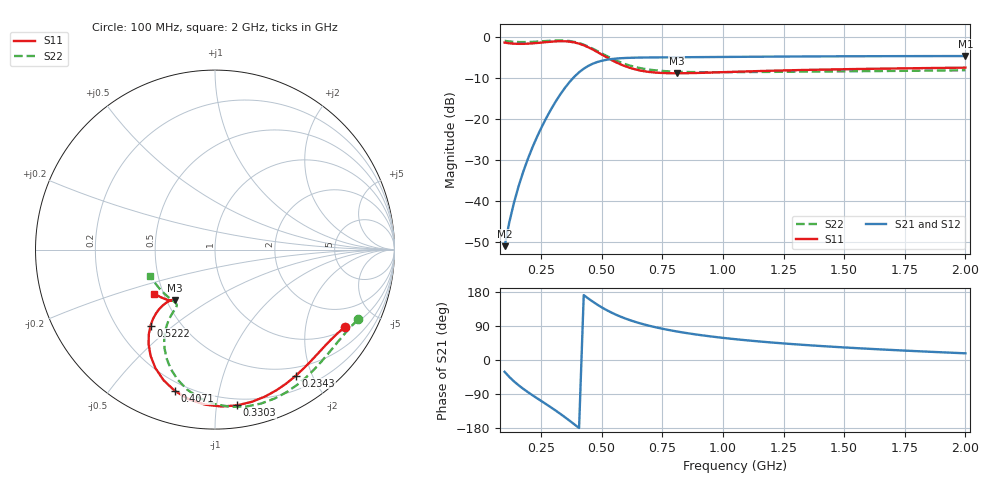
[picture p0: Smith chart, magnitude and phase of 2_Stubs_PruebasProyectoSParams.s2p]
! Created Sat Nov 25 14:33:54 2023
# hz S ri R 50
! 2 Port Network Data from SP1.SP block
! freq  reS11  imS11  reS21  imS21  reS12  imS12  reS22  imS22
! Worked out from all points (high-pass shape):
!   100 points, 100 MHz to 2 GHz, reference 50 ohm
!   highest |S21| = -4.75 dB at 2 GHz (marker M1); lowest = -50.9 dB at 100 MHz (marker M2)
!   |S21| within 3 dB of the highest: 428.2 MHz to end of sweep
!   lowest |S11| = -8.9 dB at 810.1 MHz (marker M3), VSWR 2.11, Z = 27.7 - j17.8 ohm
!   |S11| at or under -10 dB: nowhere
!   |S22| runs from -8.7 to -1.0 dB; largest |S21 - S12| = 1e-15
!   S11 on the Smith chart (normalised r, x): 100 MHz: 1.11, -3.31; 234.3 MHz: 0.38, -1.77; 330.3 MHz: 0.15, -1.14; 407.1 MHz: 0.16, -0.74; 522.2 MHz: 0.34, -0.42; 2 GHz: 0.45, -0.27
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1e8  0.7256 -0.4292  0.00243 -0.00147  0.00243 -0.00147  0.7954 -0.3894
1.191919e8  0.6831 -0.4663  0.00393 -0.00388  0.00393 -0.00388  0.7577 -0.4293
1.383838e8  0.6451 -0.5028  0.00529 -0.00792  0.00529 -0.00792  0.7235 -0.4676
1.575758e8  0.6093 -0.5401  0.00602 -0.0139  0.00602 -0.0139  0.6911 -0.5059
1.959596e8  0.5364 -0.6187  0.00299 -0.0326  0.00299 -0.0326  0.6259 -0.5853
2.343434e8  0.4517 -0.7015  -0.0118 -0.0599  -0.0118 -0.0599  0.5512 -0.6693
2.919192e8  0.279 -0.8185  -0.0758 -0.1071  -0.0758 -0.1071  0.3984 -0.7945
3.30303e8  0.123 -0.8678  -0.158 -0.1219  -0.158 -0.1219  0.2563 -0.8578
3.686869e8  -0.0564 -0.8636  -0.266 -0.0939  -0.266 -0.0939  0.0857 -0.8761
4.070707e8  -0.2229 -0.7881  -0.3675 -0.00345  -0.3675 -0.00345  -0.0837 -0.8282
4.262626e8  -0.2866 -0.7279  -0.4016 0.0623  -0.4016 0.0623  -0.1539 -0.7811
4.646465e8  -0.359 -0.5916  -0.4197 0.2093  -0.4197 0.2093  -0.2471 -0.6637
5.222222e8  -0.3593 -0.4235  -0.3438 0.3939  -0.3438 0.3939  -0.2829 -0.5034
5.606061e8  -0.3288 -0.3558  -0.2631 0.4713  -0.2631 0.4713  -0.2717 -0.4316
6.181818e8  -0.2822 -0.3038  -0.1415 0.5327  -0.1415 0.5327  -0.2454 -0.3681
7.333333e8  -0.2313 -0.2794  0.0499 0.5554  0.0499 0.5554  -0.2155 -0.3194
8.10101e8  -0.2224 -0.2801  0.1417 0.5414  0.1417 0.5414  -0.2135 -0.3065
9.252525e8  -0.2271 -0.2832  0.2443 0.5066  0.2443 0.5066  -0.2244 -0.2926
1.059596e9  -0.2433 -0.2835  0.3296 0.4602  0.3296 0.4602  -0.245 -0.2765
1.366667e9  -0.2842 -0.2728  0.4486 0.3563  0.4486 0.3563  -0.2926 -0.2347
1.692929e9  -0.3171 -0.2574  0.5161 0.2584  0.5161 0.2584  -0.3319 -0.1885
2e9  -0.3384 -0.2462  0.5515 0.1752  0.5515 0.1752  -0.3608 -0.1459
